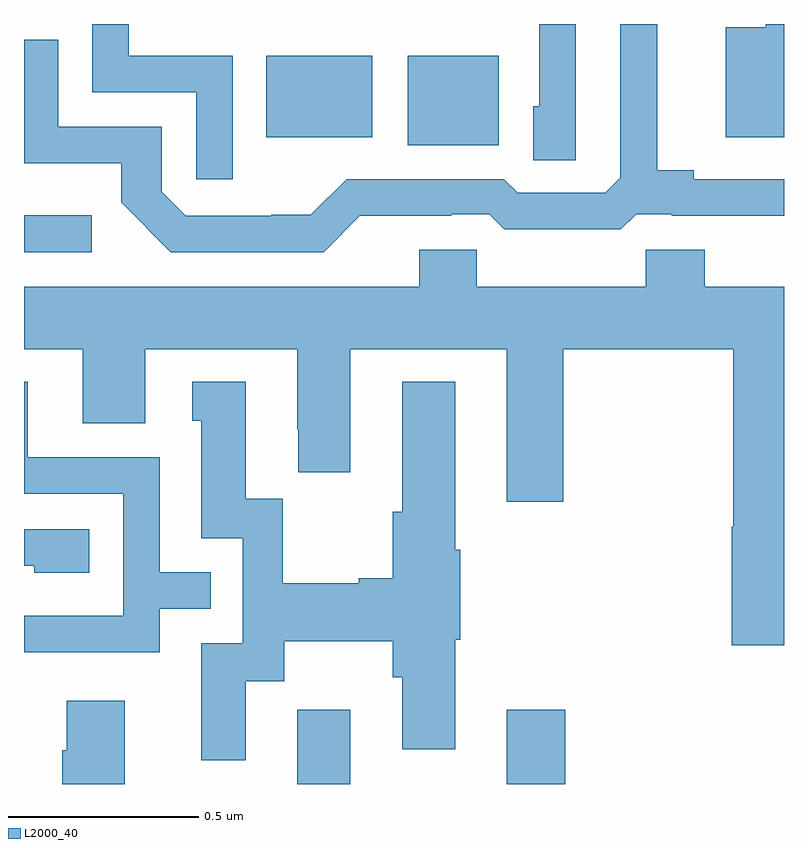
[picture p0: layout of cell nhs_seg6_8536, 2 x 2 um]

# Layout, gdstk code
import gdstk
lib = gdstk.Library(unit=1e-6, precision=1e-09)
def R(c, l, rs):  # rectangles x0, y0, x1, y1
    for r in rs: c.add(gdstk.rectangle(r[:2], r[2:], *l))
def P(c, l, *ps):  # polygons
    for p in ps: c.add(gdstk.Polygon(p, *l))
L2000_40 = (2000, 40)

nhs_seg6_8536 = lib.new_cell('nhs_seg6_8536')
R(nhs_seg6_8536, L2000_40, [(222.719,971.5,222.859,971.695), (223.271,971.5,223.424,971.695), (222,972.9,222.178,972.997), (223.01,973.181,223.249,973.417), (222.638,973.202,222.916,973.417)])
P(nhs_seg6_8536, L2000_40, [(222.884,972.995),(223.124,972.995),(223.124,972.999),(223.224,972.999),(223.264,972.96),(223.571,972.96),(223.611,972.999),(223.705,972.999),(223.705,972.995),(224,972.995),(224,973.092),(223.762,973.092),(223.762,973.115),(223.667,973.115),(223.667,973.5),(223.569,973.5),(223.569,973.095),(223.53,973.056),(223.299,973.056),(223.263,973.092),(222.849,973.092),(222.755,972.998),(222.65,972.998),(222.65,972.996),(222.426,972.996),(222.363,973.059),(222.363,973.23),(222.09,973.23),(222.09,973.459),(222,973.459),(222,973.133),(222.256,973.133),(222.256,973.031),(222.386,972.9),(222.789,972.9)],
  [(222.549,973.416),(222.276,973.416),(222.276,973.5),(222.18,973.5),(222.18,973.32),(222.453,973.32),(222.453,973.092),(222.549,973.092)],
  [(223.452,973.5),(223.356,973.5),(223.356,973.284),(223.34,973.284),(223.34,973.141),(223.452,973.141)],
  [(224,973.5),(223.952,973.5),(223.952,973.492),(223.847,973.492),(223.847,973.202),(224,973.202)],
  [(224,972.808),(223.791,972.808),(223.791,972.906),(223.636,972.906),(223.636,972.808),(223.191,972.808),(223.191,972.906),(223.04,972.906),(223.04,972.808),(222,972.808),(222,972.644),(222.155,972.644),(222.155,972.45),(222.319,972.45),(222.319,972.644),(222.719,972.644),(222.719,972.433),(222.722,972.433),(222.722,972.321),(222.859,972.321),(222.859,972.644),(223.271,972.644),(223.271,972.243),(223.419,972.243),(223.419,972.644),(223.867,972.644),(223.867,972.177),(223.862,972.177),(223.862,971.865),(224,971.865)],
  [(222.357,971.961),(222.491,971.961),(222.491,972.057),(222.357,972.057),(222.357,972.36),(222.01,972.36),(222.01,972.559),(222,972.559),(222,972.264),(222.261,972.264),(222.261,971.943),(222,971.943),(222,971.847),(222.357,971.847)],
  [(222.583,971.77),(222.685,971.77),(222.685,971.876),(222.97,971.876),(222.97,971.781),(222.995,971.781),(222.995,971.592),(223.135,971.592),(223.135,971.88),(223.148,971.88),(223.148,972.117),(223.135,972.117),(223.135,972.559),(222.995,972.559),(222.995,972.217),(222.97,972.217),(222.97,972.041),(222.881,972.041),(222.881,972.028),(222.681,972.028),(222.681,972.251),(222.583,972.251),(222.583,972.559),(222.443,972.559),(222.443,972.456),(222.467,972.456),(222.467,972.147),(222.576,972.147),(222.576,971.871),(222.467,971.871),(222.467,971.562),(222.583,971.562)],
  [(222.172,972.171),(222,972.171),(222,972.074),(222.027,972.074),(222.027,972.056),(222.172,972.056)],
  [(222.265,971.719),(222.113,971.719),(222.113,971.589),(222.101,971.589),(222.101,971.5),(222.265,971.5)])

lib.write_gds('nhs_seg6_8536.gds')
